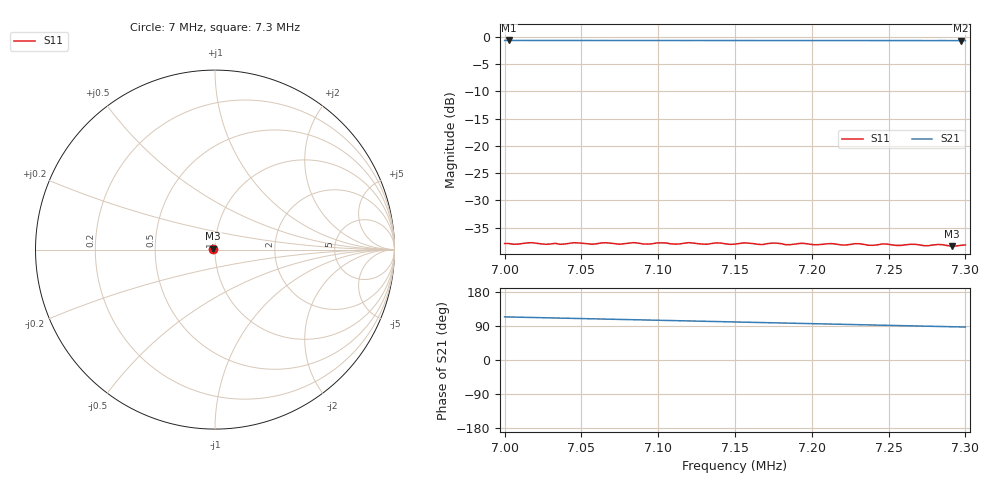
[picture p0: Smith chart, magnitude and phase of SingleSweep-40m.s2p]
# HZ S RI R 50
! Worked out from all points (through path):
!   101 points, 7 MHz to 7.3 MHz, reference 50 ohm
!   highest |S21| = -0.65 dB at 7.003 MHz (marker M1); lowest = -0.7 dB at 7.297 MHz (marker M2)
!   group delay of S21, straight-line fit = 249 ns
!   lowest |S11| = -38.4 dB at 7.291 MHz (marker M3), VSWR 1.02, Z = 48.9 + j0.489 ohm
!   |S11| at or under -10 dB: start of sweep to end of sweep
!   S12 and S22 are empty: the file has one direction only
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7000000  -0.0125 0.00242  -0.3744 0.8493  0 0  0 0
7003000  -0.0126 0.00157  -0.3709 0.8511  0 0  0 0
7051000  -0.0126 0.00212  -0.3059 0.8758  0 0  0 0
7057000  -0.0123 0.00249  -0.2976 0.8788  0 0  0 0
7066000  -0.0127 0.00255  -0.2853 0.8829  0 0  0 0
7075000  -0.0123 0.00253  -0.2728 0.8865  0 0  0 0
7084000  -0.0126 0.00279  -0.2603 0.8904  0 0  0 0
7093000  -0.0122 0.00284  -0.2477 0.8937  0 0  0 0
7102000  -0.0125 0.00305  -0.2351 0.8972  0 0  0 0
7150000  -0.012 0.00363  -0.1671 0.9117  0 0  0 0
7156000  -0.0123 0.00374  -0.1586 0.9135  0 0  0 0
7168000  -0.0119 0.00378  -0.1414 0.9157  0 0  0 0
7177000  -0.0122 0.00382  -0.1286 0.9177  0 0  0 0
7183000  -0.0118 0.00372  -0.12 0.9187  0 0  0 0
7195000  -0.0121 0.00408  -0.1027 0.9209  0 0  0 0
7201000  -0.0117 0.00402  -0.0941 0.9215  0 0  0 0
7213000  -0.0119 0.00431  -0.0768 0.9231  0 0  0 0
7252000  -0.0115 0.00452  -0.0205 0.9258  0 0  0 0
7282000  -0.0113 0.00511  0.0229 0.9254  0 0  0 0
7291000  -0.0109 0.00499  0.0359 0.9249  0 0  0 0
7297000  -0.011 0.0053  0.0446 0.9244  0 0  0 0
7300000  -0.0112 0.00529  0.0489 0.9243  0 0  0 0
